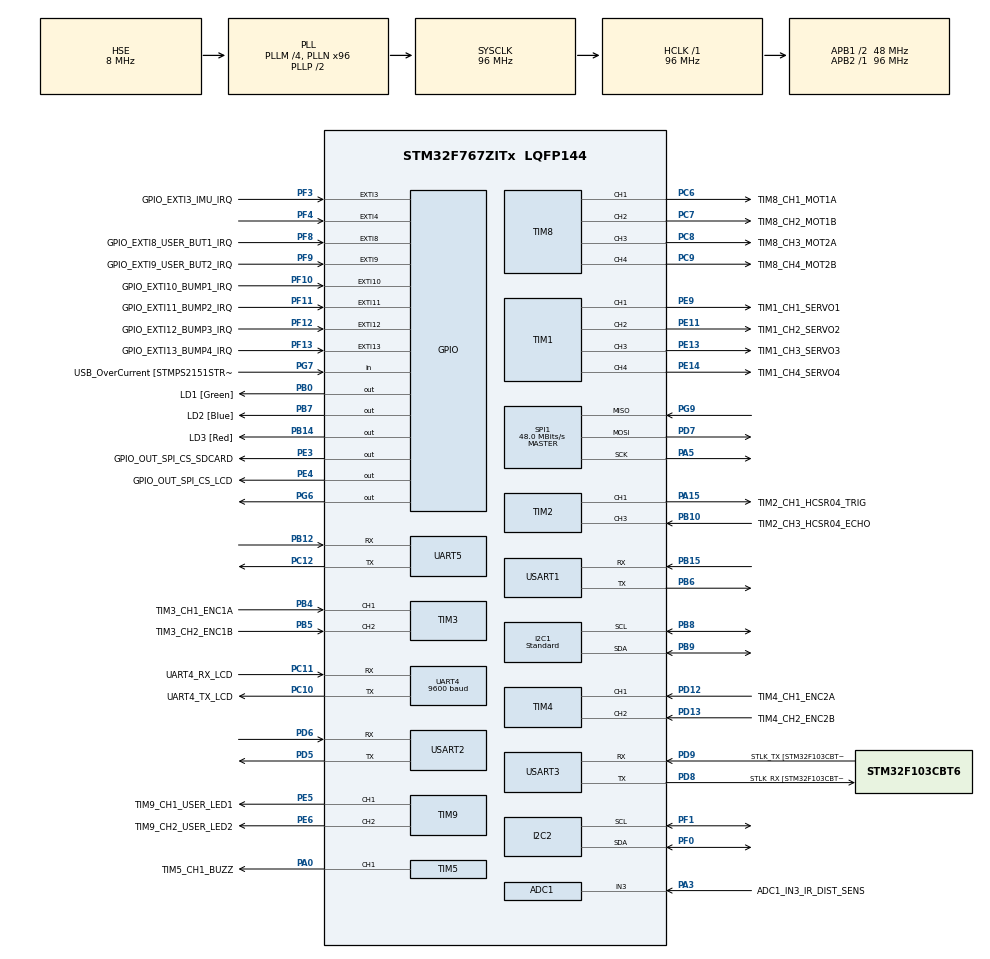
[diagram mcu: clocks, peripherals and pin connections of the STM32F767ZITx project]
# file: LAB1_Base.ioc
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ADC1.Channel-1\#ChannelRegularConversion=ADC_CHANNEL_3
ADC1.NbrOfConversionFlag=1
ADC1.Rank-1\#ChannelRegularConversion=1
ADC1.SamplingTime-1\#ChannelRegularConversion=ADC_SAMPLETIME_3CYCLES
ADC1.master=1
I2C1.I2C_Speed_Mode=I2C_Standard
I2C1.Timing=0x20303E5D
I2C2.Timing=0x20303E5D
Mcu.Family=STM32F7
Mcu.Name=STM32F767ZITx
Mcu.Package=LQFP144
Mcu.UserConstants=TIM8_PSC_VALUE,959;TIM8_ARR_VALUE,400;TIM1_PSC_VALUE,959;TIM1_ARR_VALUE,200
NVIC.PriorityGroup=NVIC_PRIORITYGROUP_4
PA0/WKUP.GPIO_Label=TIM5_CH1_BUZZ
PA0/WKUP.Signal=S_TIM5_CH1
PA1.GPIO_Label=RMII_REF_CLK [LAN8742A-CZ-TR_REFCLK0]
PA1.Signal=ETH_REF_CLK
PA10.GPIO_Label=USB_ID
PA10.Signal=USB_OTG_FS_ID
PA11.GPIO_Label=USB_DM
PA11.Signal=USB_OTG_FS_DM
PA12.GPIO_Label=USB_DP
PA12.Signal=USB_OTG_FS_DP
PA13.GPIO_Label=TMS
PA13.Mode=Serial_Wire
PA13.Signal=SYS_JTMS-SWDIO
PA14.GPIO_Label=TCK
PA14.Mode=Serial_Wire
PA14.Signal=SYS_JTCK-SWCLK
PA15.GPIO_Label=TIM2_CH1_HCSR04_TRIG
PA15.Signal=S_TIM2_CH1_ETR
PA2.GPIO_Label=RMII_MDIO [LAN8742A-CZ-TR_MDIO]
PA2.Signal=ETH_MDIO
PA3.GPIO_Label=ADC1_IN3_IR_DIST_SENS
PA3.Signal=ADCx_IN3
PA5.Mode=Full_Duplex_Master
PA5.Signal=SPI1_SCK
PA7.GPIO_Label=RMII_CRS_DV [LAN8742A-CZ-TR_CRS_DV]
PA7.Signal=ETH_CRS_DV
PA8.GPIO_Label=USB_SOF [TP1]
PA8.Signal=USB_OTG_FS_SOF
PA9.GPIO_Label=USB_VBUS
PA9.Signal=USB_OTG_FS_VBUS
PB0.GPIO_Label=LD1 [Green]
PB0.Signal=GPIO_Output
PB10.GPIO_Label=TIM2_CH3_HCSR04_ECHO
PB10.Signal=S_TIM2_CH3
PB12.Mode=Asynchronous
PB12.Signal=UART5_RX
PB13.GPIO_Label=RMII_TXD1 [LAN8742A-CZ-TR_TXD1]
PB13.Signal=ETH_TXD1
PB14.GPIO_Label=LD3 [Red]
PB14.Signal=GPIO_Output
PB15.Mode=Asynchronous
PB15.Signal=USART1_RX
PB3.GPIO_Label=SWO
PB3.Signal=SYS_JTDO-SWO
PB4.GPIO_Label=TIM3_CH1_ENC1A
PB4.Signal=S_TIM3_CH1
PB5.GPIO_Label=TIM3_CH2_ENC1B
PB5.Signal=S_TIM3_CH2
PB6.Mode=Asynchronous
PB6.Signal=USART1_TX
PB7.GPIO_Label=LD2 [Blue]
PB7.Signal=GPIO_Output
PB8.GPIO_Pu=GPIO_PULLUP
PB8.Mode=I2C
PB8.Signal=I2C1_SCL
PB9.GPIO_Pu=GPIO_PULLUP
PB9.Mode=I2C
PB9.Signal=I2C1_SDA
PC1.GPIO_Label=RMII_MDC [LAN8742A-CZ-TR_MDC]
PC1.Signal=ETH_MDC
PC10.GPIO_Label=UART4_TX_LCD
PC10.Mode=Asynchronous
PC10.Signal=UART4_TX
PC11.GPIO_Label=UART4_RX_LCD
PC11.Mode=Asynchronous
PC11.Signal=UART4_RX
PC12.Mode=Asynchronous
PC12.Signal=UART5_TX
PC14/OSC32_IN.Mode=LSE-External-Oscillator
PC14/OSC32_IN.Signal=RCC_OSC32_IN
PC15/OSC32_OUT.Mode=LSE-External-Oscillator
PC15/OSC32_OUT.Signal=RCC_OSC32_OUT
PC4.GPIO_Label=RMII_RXD0 [LAN8742A-CZ-TR_RXD0]
PC4.Signal=ETH_RXD0
PC5.GPIO_Label=RMII_RXD1 [LAN8742A-CZ-TR_RXD1]
PC5.Signal=ETH_RXD1
PC6.GPIO_Label=TIM8_CH1_MOT1A
PC6.Signal=S_TIM8_CH1
PC7.GPIO_Label=TIM8_CH2_MOT1B
PC7.Signal=S_TIM8_CH2
PC8.GPIO_Label=TIM8_CH3_MOT2A
PC8.Signal=S_TIM8_CH3
PC9.GPIO_Label=TIM8_CH4_MOT2B
PC9.Signal=S_TIM8_CH4
PD12.GPIO_Label=TIM4_CH1_ENC2A
PD12.Signal=S_TIM4_CH1
PD13.GPIO_Label=TIM4_CH2_ENC2B
PD13.Signal=S_TIM4_CH2
PD5.Mode=Asynchronous
PD5.Signal=USART2_TX
PD6.Mode=Asynchronous
PD6.Signal=USART2_RX
PD7.Mode=Full_Duplex_Master
PD7.Signal=SPI1_MOSI
PD8.GPIO_Label=STLK_RX [STM32F103CBT6_PA3]
PD8.Mode=Asynchronous
PD8.Signal=USART3_TX
PD9.GPIO_Label=STLK_TX [STM32F103CBT6_PA2]
PD9.Mode=Asynchronous
PD9.Signal=USART3_RX
PE11.GPIO_Label=TIM1_CH2_SERVO2
PE11.Signal=S_TIM1_CH2
PE13.GPIO_Label=TIM1_CH3_SERVO3
PE13.Signal=S_TIM1_CH3
PE14.GPIO_Label=TIM1_CH4_SERVO4
PE14.Signal=S_TIM1_CH4
PE3.GPIO_Label=GPIO_OUT_SPI_CS_SDCARD
PE3.Signal=GPIO_Output
PE4.GPIO_Label=GPIO_OUT_SPI_CS_LCD
PE4.Signal=GPIO_Output
PE5.GPIO_Label=TIM9_CH1_USER_LED1
PE5.Signal=S_TIM9_CH1
PE6.GPIO_Label=TIM9_CH2_USER_LED2
PE6.Signal=S_TIM9_CH2
PE9.GPIO_Label=TIM1_CH1_SERVO1
PE9.Signal=S_TIM1_CH1
PF0.GPIO_Pu=GPIO_PULLUP
PF0.Mode=I2C
PF0.Signal=I2C2_SDA
PF1.GPIO_Pu=GPIO_PULLUP
PF1.Mode=I2C
PF1.Signal=I2C2_SCL
PF10.GPIO_Label=GPIO_EXTI10_BUMP1_IRQ
PF10.Signal=GPXTI10
PF11.GPIO_Label=GPIO_EXTI11_BUMP2_IRQ
PF11.Signal=GPXTI11
PF12.GPIO_Label=GPIO_EXTI12_BUMP3_IRQ
PF12.Signal=GPXTI12
PF13.GPIO_Label=GPIO_EXTI13_BUMP4_IRQ
PF13.Signal=GPXTI13
PF3.GPIO_Label=GPIO_EXTI3_IMU_IRQ
PF3.Signal=GPXTI3
PF4.GPIO_ModeDefaultEXTI=GPIO_MODE_IT_FALLING
PF4.Signal=GPXTI4
PF8.GPIO_Label=GPIO_EXTI8_USER_BUT1_IRQ
PF8.Signal=GPXTI8
PF9.GPIO_Label=GPIO_EXTI9_USER_BUT2_IRQ
PF9.Signal=GPXTI9
PG11.GPIO_Label=RMII_TX_EN [LAN8742A-CZ-TR_TXEN]
PG11.Signal=ETH_TX_EN
PG13.GPIO_Label=RMII_TXD0 [LAN8742A-CZ-TR_TXD0]
PG13.Signal=ETH_TXD0
PG6.Signal=GPIO_Output
PG7.GPIO_Label=USB_OverCurrent [STMPS2151STR_FAULT]
PG7.Signal=GPIO_Input
PG9.Mode=Full_Duplex_Master
PG9.Signal=SPI1_MISO
PH0/OSC_IN.GPIO_Label=MCO [STM32F103CBT6_PA8]
PH0/OSC_IN.Mode=HSE-External-Clock-Source
PH0/OSC_IN.Signal=RCC_OSC_IN
PH1/OSC_OUT.Mode=HSE-External-Clock-Source
PH1/OSC_OUT.Signal=RCC_OSC_OUT
ProjectManager.HeapSize=0x200
ProjectManager.StackSize=0x400
ProjectManager.TargetToolchain=STM32CubeIDE
RCC.48MHZClocksFreq_Value=24000000
RCC.AHBFreq_Value=96000000
RCC.APB1CLKDivider=RCC_HCLK_DIV2
RCC.APB1Freq_Value=48000000
RCC.APB1TimFreq_Value=96000000
RCC.APB2Freq_Value=96000000
RCC.APB2TimFreq_Value=96000000
RCC.CortexFreq_Value=96000000
RCC.HCLKFreq_Value=96000000
RCC.HSE_VALUE=8000000
RCC.HSI_VALUE=16000000
RCC.PLLM=4
RCC.PLLMUL=RCC_PLL_MUL9
RCC.PLLN=96
RCC.PLLQ=4
RCC.PLLSourceVirtual=RCC_PLLSOURCE_HSE
RCC.PRESCALERUSB=RCC_USBCLKSOURCE_PLL_DIV1_5
RCC.SYSCLKFreq_VALUE=96000000
RCC.SYSCLKSource=RCC_SYSCLKSOURCE_PLLCLK
RCC.SYSCLKSourceVirtual=RCC_SYSCLKSOURCE_PLLCLK
RCC.USBFreq_Value=48000000
RCC.VCOOutputFreq_Value=192000000
SH.ADCx_IN3.0=ADC1_IN3,IN3
SH.S_TIM1_CH1.0=TIM1_CH1,PWM Generation1 CH1
SH.S_TIM1_CH2.0=TIM1_CH2,PWM Generation2 CH2
SH.S_TIM1_CH3.0=TIM1_CH3,PWM Generation3 CH3
SH.S_TIM1_CH4.0=TIM1_CH4,PWM Generation4 CH4
SH.S_TIM2_CH1_ETR.0=TIM2_CH1,PWM Generation1 CH1
SH.S_TIM2_CH3.0=TIM2_CH3,Input_Capture3_from_TI3
SH.S_TIM3_CH1.0=TIM3_CH1,Encoder_Interface
SH.S_TIM3_CH2.0=TIM3_CH2,Encoder_Interface
SH.S_TIM4_CH1.0=TIM4_CH1,Encoder_Interface
SH.S_TIM4_CH2.0=TIM4_CH2,Encoder_Interface
SH.S_TIM5_CH1.0=TIM5_CH1,PWM Generation1 CH1
SH.S_TIM8_CH1.0=TIM8_CH1,PWM Generation1 CH1
SH.S_TIM8_CH2.0=TIM8_CH2,PWM Generation2 CH2
SH.S_TIM8_CH3.0=TIM8_CH3,PWM Generation3 CH3
SH.S_TIM8_CH4.0=TIM8_CH4,PWM Generation4 CH4
SH.S_TIM9_CH1.0=TIM9_CH1,PWM Generation1 CH1
SH.S_TIM9_CH2.0=TIM9_CH2,PWM Generation2 CH2
SPI1.CalculateBaudRate=48.0 MBits/s
SPI1.Direction=SPI_DIRECTION_2LINES
SPI1.Mode=SPI_MODE_MASTER
SPI1.VirtualType=VM_MASTER
TIM1.Channel-PWM\ Generation1\ CH1=TIM_CHANNEL_1
TIM1.Channel-PWM\ Generation2\ CH2=TIM_CHANNEL_2
TIM1.Channel-PWM\ Generation3\ CH3=TIM_CHANNEL_3
TIM1.Channel-PWM\ Generation4\ CH4=TIM_CHANNEL_4
TIM1.Period=TIM1_ARR_VALUE
TIM1.Prescaler=TIM1_PSC_VALUE
TIM2.Channel-Input_Capture3_from_TI3=TIM_CHANNEL_3
TIM2.Channel-PWM\ Generation1\ CH1=TIM_CHANNEL_1
TIM5.Channel-PWM\ Generation1\ CH1=TIM_CHANNEL_1
TIM8.Channel-PWM\ Generation1\ CH1=TIM_CHANNEL_1
TIM8.Channel-PWM\ Generation2\ CH2=TIM_CHANNEL_2
TIM8.Channel-PWM\ Generation3\ CH3=TIM_CHANNEL_3
TIM8.Channel-PWM\ Generation4\ CH4=TIM_CHANNEL_4
TIM8.Period=TIM8_ARR_VALUE
TIM8.Prescaler=TIM8_PSC_VALUE
TIM9.Channel-PWM\ Generation1\ CH1=TIM_CHANNEL_1
TIM9.Channel-PWM\ Generation2\ CH2=TIM_CHANNEL_2
UART4.BaudRate=9600
USART1.VirtualMode-Asynchronous=VM_ASYNC
USART2.VirtualMode-Asynchronous=VM_ASYNC
USART3.VirtualMode-Asynchronous=VM_ASYNC
VP_TIM1_VS_ClockSourceINT.Mode=Internal
VP_TIM2_VS_ClockSourceINT.Mode=Internal
VP_TIM5_VS_ClockSourceINT.Mode=Internal
VP_TIM8_VS_ClockSourceINT.Mode=Internal
board=NUCLEO-F767ZI

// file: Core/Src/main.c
/* USER CODE BEGIN Header */
/**
 ******************************************************************************
 * @file           : main.c
 * @brief          : Main program body
 ******************************************************************************
 * @attention
 *
 * <h2><center>&copy; Copyright (c) 2021 STMicroelectronics.
 * All rights reserved.</center></h2>
 *
 * This software component is licensed by ST under BSD 3-Clause license,
 * the "License"; You may not use this file except in compliance with the
 * License. You may obtain a copy of the License at:
 *                        opensource.org/licenses/BSD-3-Clause
 *
 ******************************************************************************
 */
/* USER CODE END Header */
#include "main.h"

/* USER CODE BEGIN Includes */
#include <stdio.h>
#include <string.h>
#include "SX1509_Registers.h"
/* USER CODE END Includes */

/* USER CODE BEGIN PD */
#define HAL_TIMEOUT 100

#define I2C_TIMEOUT 200

#define SX1509_I2C_ADDR1 0x3E //	SX1509 Proxy Sensors I2C address
#define SX1509_I2C_ADDR2 0x3F //	SX1509 Keypad I2C address
/* USER CODE END PD */

ADC_HandleTypeDef hadc1;

I2C_HandleTypeDef hi2c1;
I2C_HandleTypeDef hi2c2;

SPI_HandleTypeDef hspi1;

TIM_HandleTypeDef htim1;
TIM_HandleTypeDef htim2;
TIM_HandleTypeDef htim3;
TIM_HandleTypeDef htim4;
TIM_HandleTypeDef htim5;
TIM_HandleTypeDef htim8;
TIM_HandleTypeDef htim9;

UART_HandleTypeDef huart4;
UART_HandleTypeDef huart5;
UART_HandleTypeDef huart1;
UART_HandleTypeDef huart2;
UART_HandleTypeDef huart3;

/* USER CODE BEGIN PV */
const char keypadLayout[4][4] = {
    {'*', '0', '#', 'D'},
    {'7', '8', '9', 'C'},
    {'4', '5', '6', 'B'},
    {'1', '2', '3', 'A'}};
/* USER CODE END PV */

void SystemClock_Config(void);
static void MX_GPIO_Init(void);
static void MX_USART3_UART_Init(void);
static void MX_ADC1_Init(void);
static void MX_I2C1_Init(void);
static void MX_I2C2_Init(void);
static void MX_SPI1_Init(void);
static void MX_TIM1_Init(void);
static void MX_TIM2_Init(void);
static void MX_TIM3_Init(void);
static void MX_TIM4_Init(void);
static void MX_TIM5_Init(void);
static void MX_TIM8_Init(void);
static void MX_UART4_Init(void);
static void MX_UART5_Init(void);
static void MX_USART1_UART_Init(void);
static void MX_USART2_UART_Init(void);
static void MX_TIM9_Init(void);

/* USER CODE BEGIN 0 */
int _write(int file, char *ptr, int len)
{
	int DataIdx;
	for (DataIdx = 0; DataIdx < len; DataIdx++)
	{
		ITM_SendChar(*ptr++);
	}
	return len;
}

int findPressedBit(uint8_t reg) {
    for (int i = 0; i < 8; i++) {
        if (!(reg & (1 << i))) { // bitmask i-th bit is one; bitwise AND to see the value
            return i + 1; // stops as soon as a 0 is found
        }
    }
    return -1; // No key pressed
}

void HAL_GPIO_EXTI_Callback(uint16_t GPIO_Pin)
{
    printf("Interrupt on pin (%d).\n", GPIO_Pin);

    uint8_t keypad_data[2];
    HAL_StatusTypeDef status;

    status =  HAL_I2C_Mem_Read(
      		   &hi2c1, // I2C handle structure
               SX1509_I2C_ADDR2 << 1, // I2C address of keypad
      	       REG_KEY_DATA_1, // register for column
			   1, // Memory address size
			   &keypad_data[0], // where save the data
      		   1, // number of byte read
      		   I2C_TIMEOUT); // timeout
    if (status != HAL_OK)
        printf("I2C communication error (%X).\n", status);

    status =  HAL_I2C_Mem_Read(
    		    &hi2c1,
				SX1509_I2C_ADDR2 << 1,
				REG_KEY_DATA_2, // row
				1,
				&keypad_data[1],
				1,
				I2C_TIMEOUT);
     if (status != HAL_OK)
        printf("I2C communication error (%X).\n", status);

     int col = findPressedBit(keypad_data[0]);
     int row = findPressedBit(keypad_data[1]);
     if (row == -1 || col == -1){
    	 printf("No key pressed");
     }
     printf("Keypad button: (%c).\n",keypadLayout[col][row]);

}

/* USER CODE END 0 */

int main(void)
{

  /* USER CODE BEGIN 1 */
  uint8_t data;
  HAL_StatusTypeDef status;
  /* USER CODE END 1 */

  /* MCU Configuration--------------------------------------------------------*/

  /* Reset of all peripherals, Initializes the Flash interface and the Systick. */
  HAL_Init();

  /* Configure the system clock */
  SystemClock_Config();

  /* Initialize all configured peripherals */
  MX_GPIO_Init();
  MX_USART3_UART_Init();
  MX_ADC1_Init();
  MX_I2C1_Init();
  MX_I2C2_Init();
  MX_SPI1_Init();
  MX_TIM1_Init();
  MX_TIM2_Init();
  MX_TIM3_Init();
  MX_TIM4_Init();
  MX_TIM5_Init();
  MX_TIM8_Init();
  MX_UART4_Init();
  MX_UART5_Init();
  MX_USART1_UART_Init();
  MX_USART2_UART_Init();
  MX_TIM9_Init();
  /* USER CODE BEGIN 2 */

  /* Disable LCD SPI SS */
  HAL_GPIO_WritePin(GPIO_OUT_SPI_CS_LCD_GPIO_Port, GPIO_OUT_SPI_CS_LCD_Pin, GPIO_PIN_SET);

  /* Disable EXTI4_IRQ during SX1509 initialization */
  HAL_NVIC_DisableIRQ(EXTI4_IRQn);

  ITM_SendChar('h');

  /* Software reset */
  data = 0x12;
  status = HAL_I2C_Mem_Write(&hi2c1, SX1509_I2C_ADDR2 << 1, REG_RESET, 1, &data, 1, I2C_TIMEOUT);
  if (status != HAL_OK)
    printf("I2C communication error (%X).\n", status);

  data = 0x34;
  status = HAL_I2C_Mem_Write(&hi2c1, SX1509_I2C_ADDR2 << 1, REG_RESET, 1, &data, 1, I2C_TIMEOUT);
  if (status != HAL_OK)
    printf("I2C communication error (%X).\n", status);

  HAL_Delay(100);

  /* Set KeyPad scanning engine */

  /* Set RegClock to 0x40 (enable internal oscillator; 2MHz freq) */
  data = 0x40;
  status = HAL_I2C_Mem_Write(&hi2c1, SX1509_I2C_ADDR2 << 1, REG_CLOCK, 1, &data, 1, I2C_TIMEOUT);
  if (status != HAL_OK)
    printf("I2C communication error (%X).\n", status);

  /* Set Bank A RegDir to 0xF0 (IO[0:3] as out) */
  data = 0xF0;
  status = HAL_I2C_Mem_Write(&hi2c1, SX1509_I2C_ADDR2 << 1, REG_DIR_A, 1, &data, 1, I2C_TIMEOUT);
  if (status != HAL_OK)
    printf("I2C communication error (%X).\n", status);

  /* Set Bank B RegDir to 0x0F (IO[8:11] as in) */
  data = 0x0F;
  status = HAL_I2C_Mem_Write(&hi2c1, SX1509_I2C_ADDR2 << 1, REG_DIR_B, 1, &data, 1, I2C_TIMEOUT);
  if (status != HAL_OK)
    printf("I2C communication error (%X).\n", status);

  /* Set Bank A RegOpenDrain to 0x0F (IO[0:3] as open-drain outputs) */
  data = 0x0F;
  status = HAL_I2C_Mem_Write(&hi2c1, SX1509_I2C_ADDR2 << 1, REG_OPEN_DRAIN_A, 1, &data, 1, I2C_TIMEOUT);
  if (status != HAL_OK)
    printf("I2C communication error (%X).\n", status);

  /* Set Bank B RegPullup to 0x0F (pull-ups enabled on inputs IO[8:11]) */
  data = 0x0F;
  status = HAL_I2C_Mem_Write(&hi2c1, SX1509_I2C_ADDR2 << 1, REG_PULL_UP_B, 1, &data, 1, I2C_TIMEOUT);
  if (status != HAL_OK)
    printf("I2C communication error (%X).\n", status);

  /* Set Bank B RegDebounceEnable to 0x0F (enable debouncing on IO[8:11]) */
  data = 0x0F;
  status = HAL_I2C_Mem_Write(&hi2c1, SX1509_I2C_ADDR2 << 1, REG_DEBOUNCE_ENABLE_B, 1, &data, 1, I2C_TIMEOUT);
  if (status != HAL_OK)
    printf("I2C communication error (%X).\n", status);

  /* Set RegDebounceConfig to 0x05 (16ms debounce time) */
  data = 0x05;
  status = HAL_I2C_Mem_Write(&hi2c1, SX1509_I2C_ADDR2 << 1, REG_DEBOUNCE_CONFIG, 1, &data, 1, I2C_TIMEOUT);
  if (status != HAL_OK)
    printf("I2C communication error (%X).\n", status);

  /* Set RegKeyConfig1 to 0x7D (8s auto-sleep; 32ms scan time per row) */
  data = 0x7D;
  status = HAL_I2C_Mem_Write(&hi2c1, SX1509_I2C_ADDR2 << 1, REG_KEY_CONFIG_1, 1, &data, 1, I2C_TIMEOUT);
  if (status != HAL_OK)
    printf("I2C communication error (%X).\n", status);

  /* Set RegKeyConfig2 to 0x1B (4 rows; 4 columns) */
  data = 0x1B;
  status = HAL_I2C_Mem_Write(&hi2c1, SX1509_I2C_ADDR2 << 1, REG_KEY_CONFIG_2, 1, &data, 1, I2C_TIMEOUT);
  if (status != HAL_OK)
    printf("I2C communication error (%X).\n", status);

  /* Enable EXTI4_IRQ after SX1509 initialization */
  HAL_Delay(100);
  HAL_NVIC_EnableIRQ(EXTI4_IRQn);

  /* Disable EXTI2_IRQ during SX1509 initialization */
  HAL_NVIC_DisableIRQ(EXTI2_IRQn);

  /* Software reset */
  data = 0x12;
  status = HAL_I2C_Mem_Write(&hi2c1, SX1509_I2C_ADDR1 << 1, REG_RESET, 1, &data, 1, I2C_TIMEOUT);
  if (status != HAL_OK)
    printf("I2C communication error (%X).\n", status);

  data = 0x34;
  status = HAL_I2C_Mem_Write(&hi2c1, SX1509_I2C_ADDR1 << 1, REG_RESET, 1, &data, 1, I2C_TIMEOUT);
  if (status != HAL_OK)
    printf("I2C communication error (%X).\n", status);

  HAL_Delay(100);

  /* Set RegDirA to 0xFF (all IO of Bank A configured as inputs) */
  data = 0xFF; // 0 = out; 1 = in
  status = HAL_I2C_Mem_Write(&hi2c1, SX1509_I2C_ADDR1 << 1, REG_DIR_A, 1, &data, 1, I2C_TIMEOUT);
  if (status != HAL_OK)
    printf("I2C communication error (%X).\n", status);

  /* Set RegDirB to 0xFF (all IO of Bank B configured as inputs) */
  data = 0xFF; // 0 = out; 1 = in
  status = HAL_I2C_Mem_Write(&hi2c1, SX1509_I2C_ADDR1 << 1, REG_DIR_B, 1, &data, 1, I2C_TIMEOUT);
  if (status != HAL_OK)
    printf("I2C communication error (%X).\n", status);

  /* Set RegInterruptMaskA to 0x00 (all IO of Bank A will trigger an interrupt) */
  data = 0x00;
  status = HAL_I2C_Mem_Write(&hi2c1, SX1509_I2C_ADDR1 << 1, REG_INTERRUPT_MASK_A, 1, &data, 1, I2C_TIMEOUT);
  if (status != HAL_OK)
    printf("I2C communication error (%X).\n", status);

  /* Set RegSenseHighA to 0xAA (IO[7:4] of Bank A will trigger an interrupt on falling edge) */
  data = 0xAA;
  status = HAL_I2C_Mem_Write(&hi2c1, SX1509_I2C_ADDR1 << 1, REG_SENSE_HIGH_A, 1, &data, 1, I2C_TIMEOUT);
  if (status != HAL_OK)
    printf("I2C communication error (%X).\n", status);

  /* Set RegSenseLowA to 0xAA (IO[3:0] of Bank A will trigger an interrupt on falling edge) */
  data = 0xAA;
  status = HAL_I2C_Mem_Write(&hi2c1, SX1509_I2C_ADDR1 << 1, REG_SENSE_LOW_A, 1, &data, 1, I2C_TIMEOUT);
  if (status != HAL_OK)
    printf("I2C communication error (%X).\n", status);

  /* Enable EXTI2_IRQ after SX1509 initialization */
  HAL_Delay(100);
  HAL_NVIC_EnableIRQ(EXTI2_IRQn);

  printf("Ready\n");

  /* USER CODE END 2 */

  /* Infinite loop */
  while (1)
  {

    /* USER CODE BEGIN 3 */
	  uint8_t sensor_data = 0;
	  status =  HAL_I2C_Mem_Read(
	      		    &hi2c1,
	  				SX1509_I2C_ADDR1 << 1,
	  				REG_DATA_B,
	  				1,
	  				&sensor_data,
	  				1,
	  				I2C_TIMEOUT);
	  if (status != HAL_OK)
	      printf("I2C communication error (%X).\n", status);
	  printf("Line Sensor Data: 0x%02X\n", sensor_data);
	  HAL_Delay(100);

  }
  /* USER CODE END 3 */
}

void SystemClock_Config(void)
{
  RCC_OscInitTypeDef RCC_OscInitStruct = {0};
  RCC_ClkInitTypeDef RCC_ClkInitStruct = {0};

  /** Configure LSE Drive Capability
  */
  HAL_PWR_EnableBkUpAccess();

  /** Configure the main internal regulator output voltage
  */
  __HAL_RCC_PWR_CLK_ENABLE();
  __HAL_PWR_VOLTAGESCALING_CONFIG(PWR_REGULATOR_VOLTAGE_SCALE3);

  /** Initializes the RCC Oscillators according to the specified parameters
  * in the RCC_OscInitTypeDef structure.
  */
  RCC_OscInitStruct.OscillatorType = RCC_OSCILLATORTYPE_HSE;
  RCC_OscInitStruct.HSEState = RCC_HSE_BYPASS;
  RCC_OscInitStruct.PLL.PLLState = RCC_PLL_ON;
  RCC_OscInitStruct.PLL.PLLSource = RCC_PLLSOURCE_HSE;
  RCC_OscInitStruct.PLL.PLLM = 4;
  RCC_OscInitStruct.PLL.PLLN = 96;
  RCC_OscInitStruct.PLL.PLLP = RCC_PLLP_DIV2;
  RCC_OscInitStruct.PLL.PLLQ = 4;
  RCC_OscInitStruct.PLL.PLLR = 2;
  if (HAL_RCC_OscConfig(&RCC_OscInitStruct) != HAL_OK)
  {
    Error_Handler();
  }

  /** Activate the Over-Drive mode
  */
  if (HAL_PWREx_EnableOverDrive() != HAL_OK)
  {
    Error_Handler();
  }

  /** Initializes the CPU, AHB and APB buses clocks
  */
  RCC_ClkInitStruct.ClockType = RCC_CLOCKTYPE_HCLK|RCC_CLOCKTYPE_SYSCLK
                              |RCC_CLOCKTYPE_PCLK1|RCC_CLOCKTYPE_PCLK2;
  RCC_ClkInitStruct.SYSCLKSource = RCC_SYSCLKSOURCE_PLLCLK;
  RCC_ClkInitStruct.AHBCLKDivider = RCC_SYSCLK_DIV1;
  RCC_ClkInitStruct.APB1CLKDivider = RCC_HCLK_DIV2;
  RCC_ClkInitStruct.APB2CLKDivider = RCC_HCLK_DIV1;

  if (HAL_RCC_ClockConfig(&RCC_ClkInitStruct, FLASH_LATENCY_3) != HAL_OK)
  {
    Error_Handler();
  }
}

static void MX_ADC1_Init(void)
{

  ADC_ChannelConfTypeDef sConfig = {0};

  /** Configure the global features of the ADC (Clock, Resolution, Data Alignment and number of conversion)
  */
  hadc1.Instance = ADC1;
  hadc1.Init.ClockPrescaler = ADC_CLOCK_SYNC_PCLK_DIV4;
  hadc1.Init.Resolution = ADC_RESOLUTION_12B;
  hadc1.Init.ScanConvMode = ADC_SCAN_DISABLE;
  hadc1.Init.ContinuousConvMode = DISABLE;
  hadc1.Init.DiscontinuousConvMode = DISABLE;
  hadc1.Init.ExternalTrigConvEdge = ADC_EXTERNALTRIGCONVEDGE_NONE;
  hadc1.Init.ExternalTrigConv = ADC_SOFTWARE_START;
  hadc1.Init.DataAlign = ADC_DATAALIGN_RIGHT;
  hadc1.Init.NbrOfConversion = 1;
  hadc1.Init.DMAContinuousRequests = DISABLE;
  hadc1.Init.EOCSelection = ADC_EOC_SINGLE_CONV;
  if (HAL_ADC_Init(&hadc1) != HAL_OK)
  {
    Error_Handler();
  }

  /** Configure for the selected ADC regular channel its corresponding rank in the sequencer and its sample time.
  */
  sConfig.Channel = ADC_CHANNEL_3;
  sConfig.Rank = ADC_REGULAR_RANK_1;
  sConfig.SamplingTime = ADC_SAMPLETIME_3CYCLES;
  if (HAL_ADC_ConfigChannel(&hadc1, &sConfig) != HAL_OK)
  {
    Error_Handler();
  }

}

static void MX_I2C1_Init(void)
{

  hi2c1.Instance = I2C1;
  hi2c1.Init.Timing = 0x20303E5D;
  hi2c1.Init.OwnAddress1 = 0;
  hi2c1.Init.AddressingMode = I2C_ADDRESSINGMODE_7BIT;
  hi2c1.Init.DualAddressMode = I2C_DUALADDRESS_DISABLE;
  hi2c1.Init.OwnAddress2 = 0;
  hi2c1.Init.OwnAddress2Masks = I2C_OA2_NOMASK;
  hi2c1.Init.GeneralCallMode = I2C_GENERALCALL_DISABLE;
  hi2c1.Init.NoStretchMode = I2C_NOSTRETCH_DISABLE;
  if (HAL_I2C_Init(&hi2c1) != HAL_OK)
  {
    Error_Handler();
  }

  /** Configure Analogue filter
  */
  if (HAL_I2CEx_ConfigAnalogFilter(&hi2c1, I2C_ANALOGFILTER_ENABLE) != HAL_OK)
  {
    Error_Handler();
  }

  /** Configure Digital filter
  */
  if (HAL_I2CEx_ConfigDigitalFilter(&hi2c1, 0) != HAL_OK)
  {
    Error_Handler();
  }

}

static void MX_I2C2_Init(void)
{

  hi2c2.Instance = I2C2;
  hi2c2.Init.Timing = 0x20303E5D;
  hi2c2.Init.OwnAddress1 = 0;
  hi2c2.Init.AddressingMode = I2C_ADDRESSINGMODE_7BIT;
  hi2c2.Init.DualAddressMode = I2C_DUALADDRESS_DISABLE;
  hi2c2.Init.OwnAddress2 = 0;
  hi2c2.Init.OwnAddress2Masks = I2C_OA2_NOMASK;
  hi2c2.Init.GeneralCallMode = I2C_GENERALCALL_DISABLE;
  hi2c2.Init.NoStretchMode = I2C_NOSTRETCH_DISABLE;
  if (HAL_I2C_Init(&hi2c2) != HAL_OK)
  {
    Error_Handler();
  }

  /** Configure Analogue filter
  */
  if (HAL_I2CEx_ConfigAnalogFilter(&hi2c2, I2C_ANALOGFILTER_ENABLE) != HAL_OK)
  {
    Error_Handler();
  }

  /** Configure Digital filter
  */
  if (HAL_I2CEx_ConfigDigitalFilter(&hi2c2, 0) != HAL_OK)
  {
    Error_Handler();
  }

}

static void MX_SPI1_Init(void)
{

  /* SPI1 parameter configuration*/
  hspi1.Instance = SPI1;
  hspi1.Init.Mode = SPI_MODE_MASTER;
  hspi1.Init.Direction = SPI_DIRECTION_2LINES;
  hspi1.Init.DataSize = SPI_DATASIZE_4BIT;
  hspi1.Init.CLKPolarity = SPI_POLARITY_LOW;
  hspi1.Init.CLKPhase = SPI_PHASE_1EDGE;
  hspi1.Init.NSS = SPI_NSS_SOFT;
  hspi1.Init.BaudRatePrescaler = SPI_BAUDRATEPRESCALER_2;
  hspi1.Init.FirstBit = SPI_FIRSTBIT_MSB;
  hspi1.Init.TIMode = SPI_TIMODE_DISABLE;
  hspi1.Init.CRCCalculation = SPI_CRCCALCULATION_DISABLE;
  hspi1.Init.CRCPolynomial = 7;
  hspi1.Init.CRCLength = SPI_CRC_LENGTH_DATASIZE;
  hspi1.Init.NSSPMode = SPI_NSS_PULSE_ENABLE;
  if (HAL_SPI_Init(&hspi1) != HAL_OK)
  {
    Error_Handler();
  }

}

static void MX_TIM1_Init(void)
{

  TIM_ClockConfigTypeDef sClockSourceConfig = {0};
  TIM_MasterConfigTypeDef sMasterConfig = {0};
  TIM_OC_InitTypeDef sConfigOC = {0};
  TIM_BreakDeadTimeConfigTypeDef sBreakDeadTimeConfig = {0};

  htim1.Instance = TIM1;
  htim1.Init.Prescaler = TIM1_PSC_VALUE;
  htim1.Init.CounterMode = TIM_COUNTERMODE_UP;
  htim1.Init.Period = TIM1_ARR_VALUE;
  htim1.Init.ClockDivision = TIM_CLOCKDIVISION_DIV1;
  htim1.Init.RepetitionCounter = 0;
  htim1.Init.AutoReloadPreload = TIM_AUTORELOAD_PRELOAD_DISABLE;
  if (HAL_TIM_Base_Init(&htim1) != HAL_OK)
  {
    Error_Handler();
  }
  sClockSourceConfig.ClockSource = TIM_CLOCKSOURCE_INTERNAL;
  if (HAL_TIM_ConfigClockSource(&htim1, &sClockSourceConfig) != HAL_OK)
  {
    Error_Handler();
  }
  if (HAL_TIM_PWM_Init(&htim1) != HAL_OK)
  {
    Error_Handler();
  }
  sMasterConfig.MasterOutputTrigger = TIM_TRGO_RESET;
  sMasterConfig.MasterOutputTrigger2 = TIM_TRGO2_RESET;
  sMasterConfig.MasterSlaveMode = TIM_MASTERSLAVEMODE_DISABLE;
  if (HAL_TIMEx_MasterConfigSynchronization(&htim1, &sMasterConfig) != HAL_OK)
  {
    Error_Handler();
  }
  sConfigOC.OCMode = TIM_OCMODE_PWM1;
  sConfigOC.Pulse = 0;
  sConfigOC.OCPolarity = TIM_OCPOLARITY_HIGH;
  sConfigOC.OCNPolarity = TIM_OCNPOLARITY_HIGH;
  sConfigOC.OCFastMode = TIM_OCFAST_DISABLE;
  sConfigOC.OCIdleState = TIM_OCIDLESTATE_RESET;
  sConfigOC.OCNIdleState = TIM_OCNIDLESTATE_RESET;
  if (HAL_TIM_PWM_ConfigChannel(&htim1, &sConfigOC, TIM_CHANNEL_1) != HAL_OK)
  {
    Error_Handler();
  }
  if (HAL_TIM_PWM_ConfigChannel(&htim1, &sConfigOC, TIM_CHANNEL_2) != HAL_OK)
  {
    Error_Handler();
  }
  if (HAL_TIM_PWM_ConfigChannel(&htim1, &sConfigOC, TIM_CHANNEL_3) != HAL_OK)
  {
    Error_Handler();
  }
  if (HAL_TIM_PWM_ConfigChannel(&htim1, &sConfigOC, TIM_CHANNEL_4) != HAL_OK)
  {
    Error_Handler();
  }
  sBreakDeadTimeConfig.OffStateRunMode = TIM_OSSR_DISABLE;
  sBreakDeadTimeConfig.OffStateIDLEMode = TIM_OSSI_DISABLE;
  sBreakDeadTimeConfig.LockLevel = TIM_LOCKLEVEL_OFF;
  sBreakDeadTimeConfig.DeadTime = 0;
  sBreakDeadTimeConfig.BreakState = TIM_BREAK_DISABLE;
  sBreakDeadTimeConfig.BreakPolarity = TIM_BREAKPOLARITY_HIGH;
  sBreakDeadTimeConfig.BreakFilter = 0;
  sBreakDeadTimeConfig.Break2State = TIM_BREAK2_DISABLE;
  sBreakDeadTimeConfig.Break2Polarity = TIM_BREAK2POLARITY_HIGH;
  sBreakDeadTimeConfig.Break2Filter = 0;
  sBreakDeadTimeConfig.AutomaticOutput = TIM_AUTOMATICOUTPUT_DISABLE;
  if (HAL_TIMEx_ConfigBreakDeadTime(&htim1, &sBreakDeadTimeConfig) != HAL_OK)
  {
    Error_Handler();
  }
  HAL_TIM_MspPostInit(&htim1);

}

static void MX_TIM2_Init(void)
{

  TIM_ClockConfigTypeDef sClockSourceConfig = {0};
  TIM_MasterConfigTypeDef sMasterConfig = {0};
  TIM_OC_InitTypeDef sConfigOC = {0};
  TIM_IC_InitTypeDef sConfigIC = {0};

  htim2.Instance = TIM2;
  htim2.Init.Prescaler = 0;
  htim2.Init.CounterMode = TIM_COUNTERMODE_UP;
  htim2.Init.Period = 4294967295;
  htim2.Init.ClockDivision = TIM_CLOCKDIVISION_DIV1;
  htim2.Init.AutoReloadPreload = TIM_AUTORELOAD_PRELOAD_DISABLE;
  if (HAL_TIM_Base_Init(&htim2) != HAL_OK)
  {
    Error_Handler();
  }
  sClockSourceConfig.ClockSource = TIM_CLOCKSOURCE_INTERNAL;
  if (HAL_TIM_ConfigClockSource(&htim2, &sClockSourceConfig) != HAL_OK)
  {
    Error_Handler();
  }
  if (HAL_TIM_PWM_Init(&htim2) != HAL_OK)
  {
    Error_Handler();
  }
  if (HAL_TIM_IC_Init(&htim2) != HAL_OK)
  {
    Error_Handler();
  }
  sMasterConfig.MasterOutputTrigger = TIM_TRGO_RESET;
  sMasterConfig.MasterSlaveMode = TIM_MASTERSLAVEMODE_DISABLE;
  if (HAL_TIMEx_MasterConfigSynchronization(&htim2, &sMasterConfig) != HAL_OK)
  {
    Error_Handler();
  }
  sConfigOC.OCMode = TIM_OCMODE_PWM1;
  sConfigOC.Pulse = 0;
  sConfigOC.OCPolarity = TIM_OCPOLARITY_HIGH;
  sConfigOC.OCFastMode = TIM_OCFAST_DISABLE;
  if (HAL_TIM_PWM_ConfigChannel(&htim2, &sConfigOC, TIM_CHANNEL_1) != HAL_OK)
  {
    Error_Handler();
  }
  sConfigIC.ICPolarity = TIM_INPUTCHANNELPOLARITY_RISING;
  sConfigIC.ICSelection = TIM_ICSELECTION_DIRECTTI;
  sConfigIC.ICPrescaler = TIM_ICPSC_DIV1;
  sConfigIC.ICFilter = 0;
  if (HAL_TIM_IC_ConfigChannel(&htim2, &sConfigIC, TIM_CHANNEL_3) != HAL_OK)
  {
    Error_Handler();
  }
  HAL_TIM_MspPostInit(&htim2);

}

static void MX_TIM3_Init(void)
{

  TIM_Encoder_InitTypeDef sConfig = {0};
  TIM_MasterConfigTypeDef sMasterConfig = {0};

  htim3.Instance = TIM3;
  htim3.Init.Prescaler = 0;
  htim3.Init.CounterMode = TIM_COUNTERMODE_UP;
  htim3.Init.Period = 65535;
  htim3.Init.ClockDivision = TIM_CLOCKDIVISION_DIV1;
  htim3.Init.AutoReloadPreload = TIM_AUTORELOAD_PRELOAD_DISABLE;
  sConfig.EncoderMode = TIM_ENCODERMODE_TI1;
  sConfig.IC1Polarity = TIM_ICPOLARITY_RISING;
  sConfig.IC1Selection = TIM_ICSELECTION_DIRECTTI;
  sConfig.IC1Prescaler = TIM_ICPSC_DIV1;
  sConfig.IC1Filter = 0;
  sConfig.IC2Polarity = TIM_ICPOLARITY_RISING;
  sConfig.IC2Selection = TIM_ICSELECTION_DIRECTTI;
  sConfig.IC2Prescaler = TIM_ICPSC_DIV1;
  sConfig.IC2Filter = 0;
  if (HAL_TIM_Encoder_Init(&htim3, &sConfig) != HAL_OK)
  {
    Error_Handler();
  }
  sMasterConfig.MasterOutputTrigger = TIM_TRGO_RESET;
  sMasterConfig.MasterSlaveMode = TIM_MASTERSLAVEMODE_DISABLE;
  if (HAL_TIMEx_MasterConfigSynchronization(&htim3, &sMasterConfig) != HAL_OK)
  {
    Error_Handler();
  }

}

static void MX_TIM4_Init(void)
{

  TIM_Encoder_InitTypeDef sConfig = {0};
  TIM_MasterConfigTypeDef sMasterConfig = {0};

  htim4.Instance = TIM4;
  htim4.Init.Prescaler = 0;
  htim4.Init.CounterMode = TIM_COUNTERMODE_UP;
  htim4.Init.Period = 65535;
  htim4.Init.ClockDivision = TIM_CLOCKDIVISION_DIV1;
  htim4.Init.AutoReloadPreload = TIM_AUTORELOAD_PRELOAD_DISABLE;
  sConfig.EncoderMode = TIM_ENCODERMODE_TI1;
  sConfig.IC1Polarity = TIM_ICPOLARITY_RISING;
  sConfig.IC1Selection = TIM_ICSELECTION_DIRECTTI;
  sConfig.IC1Prescaler = TIM_ICPSC_DIV1;
  sConfig.IC1Filter = 0;
  sConfig.IC2Polarity = TIM_ICPOLARITY_RISING;
  sConfig.IC2Selection = TIM_ICSELECTION_DIRECTTI;
  sConfig.IC2Prescaler = TIM_ICPSC_DIV1;
  sConfig.IC2Filter = 0;
  if (HAL_TIM_Encoder_Init(&htim4, &sConfig) != HAL_OK)
  {
    Error_Handler();
  }
  sMasterConfig.MasterOutputTrigger = TIM_TRGO_RESET;
  sMasterConfig.MasterSlaveMode = TIM_MASTERSLAVEMODE_DISABLE;
  if (HAL_TIMEx_MasterConfigSynchronization(&htim4, &sMasterConfig) != HAL_OK)
  {
    Error_Handler();
  }

}

static void MX_TIM5_Init(void)
{

  TIM_ClockConfigTypeDef sClockSourceConfig = {0};
  TIM_MasterConfigTypeDef sMasterConfig = {0};
  TIM_OC_InitTypeDef sConfigOC = {0};

  htim5.Instance = TIM5;
  htim5.Init.Prescaler = 0;
  htim5.Init.CounterMode = TIM_COUNTERMODE_UP;
  htim5.Init.Period = 4294967295;
  htim5.Init.ClockDivision = TIM_CLOCKDIVISION_DIV1;
  htim5.Init.AutoReloadPreload = TIM_AUTORELOAD_PRELOAD_DISABLE;
  if (HAL_TIM_Base_Init(&htim5) != HAL_OK)
  {
    Error_Handler();
  }
  sClockSourceConfig.ClockSource = TIM_CLOCKSOURCE_INTERNAL;
  if (HAL_TIM_ConfigClockSource(&htim5, &sClockSourceConfig) != HAL_OK)
  {
    Error_Handler();
  }
  if (HAL_TIM_PWM_Init(&htim5) != HAL_OK)
  {
    Error_Handler();
  }
  sMasterConfig.MasterOutputTrigger = TIM_TRGO_RESET;
  sMasterConfig.MasterSlaveMode = TIM_MASTERSLAVEMODE_DISABLE;
  if (HAL_TIMEx_MasterConfigSynchronization(&htim5, &sMasterConfig) != HAL_OK)
  {
    Error_Handler();
  }
  sConfigOC.OCMode = TIM_OCMODE_PWM1;
  sConfigOC.Pulse = 0;
  sConfigOC.OCPolarity = TIM_OCPOLARITY_HIGH;
  sConfigOC.OCFastMode = TIM_OCFAST_DISABLE;
  if (HAL_TIM_PWM_ConfigChannel(&htim5, &sConfigOC, TIM_CHANNEL_1) != HAL_OK)
  {
    Error_Handler();
  }
  HAL_TIM_MspPostInit(&htim5);

}

static void MX_TIM8_Init(void)
{

  TIM_ClockConfigTypeDef sClockSourceConfig = {0};
  TIM_MasterConfigTypeDef sMasterConfig = {0};
  TIM_OC_InitTypeDef sConfigOC = {0};
  TIM_BreakDeadTimeConfigTypeDef sBreakDeadTimeConfig = {0};

  htim8.Instance = TIM8;
  htim8.Init.Prescaler = TIM8_PSC_VALUE;
  htim8.Init.CounterMode = TIM_COUNTERMODE_UP;
  htim8.Init.Period = TIM8_ARR_VALUE;
  htim8.Init.ClockDivision = TIM_CLOCKDIVISION_DIV1;
  htim8.Init.RepetitionCounter = 0;
  htim8.Init.AutoReloadPreload = TIM_AUTORELOAD_PRELOAD_DISABLE;
  if (HAL_TIM_Base_Init(&htim8) != HAL_OK)
  {
    Error_Handler();
  }
  sClockSourceConfig.ClockSource = TIM_CLOCKSOURCE_INTERNAL;
  if (HAL_TIM_ConfigClockSource(&htim8, &sClockSourceConfig) != HAL_OK)
  {
    Error_Handler();
  }
  if (HAL_TIM_PWM_Init(&htim8) != HAL_OK)
  {
    Error_Handler();
  }
  sMasterConfig.MasterOutputTrigger = TIM_TRGO_RESET;
  sMasterConfig.MasterOutputTrigger2 = TIM_TRGO2_RESET;
  sMasterConfig.MasterSlaveMode = TIM_MASTERSLAVEMODE_DISABLE;
  if (HAL_TIMEx_MasterConfigSynchronization(&htim8, &sMasterConfig) != HAL_OK)
  {
    Error_Handler();
  }
  sConfigOC.OCMode = TIM_OCMODE_PWM1;
  sConfigOC.Pulse = 0;
  sConfigOC.OCPolarity = TIM_OCPOLARITY_HIGH;
  sConfigOC.OCNPolarity = TIM_OCNPOLARITY_HIGH;
  sConfigOC.OCFastMode = TIM_OCFAST_DISABLE;
  sConfigOC.OCIdleState = TIM_OCIDLESTATE_RESET;
  sConfigOC.OCNIdleState = TIM_OCNIDLESTATE_RESET;
  if (HAL_TIM_PWM_ConfigChannel(&htim8, &sConfigOC, TIM_CHANNEL_1) != HAL_OK)
  {
    Error_Handler();
  }
  if (HAL_TIM_PWM_ConfigChannel(&htim8, &sConfigOC, TIM_CHANNEL_2) != HAL_OK)
  {
    Error_Handler();
  }
  if (HAL_TIM_PWM_ConfigChannel(&htim8, &sConfigOC, TIM_CHANNEL_3) != HAL_OK)
  {
    Error_Handler();
  }
  if (HAL_TIM_PWM_ConfigChannel(&htim8, &sConfigOC, TIM_CHANNEL_4) != HAL_OK)
  {
    Error_Handler();
  }
  sBreakDeadTimeConfig.OffStateRunMode = TIM_OSSR_DISABLE;
  sBreakDeadTimeConfig.OffStateIDLEMode = TIM_OSSI_DISABLE;
  sBreakDeadTimeConfig.LockLevel = TIM_LOCKLEVEL_OFF;
  sBreakDeadTimeConfig.DeadTime = 0;
  sBreakDeadTimeConfig.BreakState = TIM_BREAK_DISABLE;
  sBreakDeadTimeConfig.BreakPolarity = TIM_BREAKPOLARITY_HIGH;
  sBreakDeadTimeConfig.BreakFilter = 0;
  sBreakDeadTimeConfig.Break2State = TIM_BREAK2_DISABLE;
  sBreakDeadTimeConfig.Break2Polarity = TIM_BREAK2POLARITY_HIGH;
  sBreakDeadTimeConfig.Break2Filter = 0;
  sBreakDeadTimeConfig.AutomaticOutput = TIM_AUTOMATICOUTPUT_DISABLE;
  if (HAL_TIMEx_ConfigBreakDeadTime(&htim8, &sBreakDeadTimeConfig) != HAL_OK)
  {
    Error_Handler();
  }
  HAL_TIM_MspPostInit(&htim8);

}

static void MX_TIM9_Init(void)
{

  TIM_OC_InitTypeDef sConfigOC = {0};

  htim9.Instance = TIM9;
  htim9.Init.Prescaler = 0;
  htim9.Init.CounterMode = TIM_COUNTERMODE_UP;
  htim9.Init.Period = 65535;
  htim9.Init.ClockDivision = TIM_CLOCKDIVISION_DIV1;
  htim9.Init.AutoReloadPreload = TIM_AUTORELOAD_PRELOAD_DISABLE;
  if (HAL_TIM_PWM_Init(&htim9) != HAL_OK)
  {
    Error_Handler();
  }
  sConfigOC.OCMode = TIM_OCMODE_PWM1;
  sConfigOC.Pulse = 0;
  sConfigOC.OCPolarity = TIM_OCPOLARITY_HIGH;
  sConfigOC.OCFastMode = TIM_OCFAST_DISABLE;
  if (HAL_TIM_PWM_ConfigChannel(&htim9, &sConfigOC, TIM_CHANNEL_1) != HAL_OK)
  {
    Error_Handler();
  }
  if (HAL_TIM_PWM_ConfigChannel(&htim9, &sConfigOC, TIM_CHANNEL_2) != HAL_OK)
  {
    Error_Handler();
  }
  HAL_TIM_MspPostInit(&htim9);

}

static void MX_UART4_Init(void)
{

  huart4.Instance = UART4;
  huart4.Init.BaudRate = 9600;
  huart4.Init.WordLength = UART_WORDLENGTH_8B;
  huart4.Init.StopBits = UART_STOPBITS_1;
  huart4.Init.Parity = UART_PARITY_NONE;
  huart4.Init.Mode = UART_MODE_TX_RX;
  huart4.Init.HwFlowCtl = UART_HWCONTROL_NONE;
  huart4.Init.OverSampling = UART_OVERSAMPLING_16;
  huart4.Init.OneBitSampling = UART_ONE_BIT_SAMPLE_DISABLE;
  huart4.AdvancedInit.AdvFeatureInit = UART_ADVFEATURE_NO_INIT;
  if (HAL_UART_Init(&huart4) != HAL_OK)
  {
    Error_Handler();
  }

}

static void MX_UART5_Init(void)
{

  huart5.Instance = UART5;
  huart5.Init.BaudRate = 115200;
  huart5.Init.WordLength = UART_WORDLENGTH_8B;
  huart5.Init.StopBits = UART_STOPBITS_1;
  huart5.Init.Parity = UART_PARITY_NONE;
  huart5.Init.Mode = UART_MODE_TX_RX;
  huart5.Init.HwFlowCtl = UART_HWCONTROL_NONE;
  huart5.Init.OverSampling = UART_OVERSAMPLING_16;
  huart5.Init.OneBitSampling = UART_ONE_BIT_SAMPLE_DISABLE;
  huart5.AdvancedInit.AdvFeatureInit = UART_ADVFEATURE_NO_INIT;
  if (HAL_UART_Init(&huart5) != HAL_OK)
  {
    Error_Handler();
  }

}

static void MX_USART1_UART_Init(void)
{

  huart1.Instance = USART1;
  huart1.Init.BaudRate = 115200;
  huart1.Init.WordLength = UART_WORDLENGTH_8B;
  huart1.Init.StopBits = UART_STOPBITS_1;
  huart1.Init.Parity = UART_PARITY_NONE;
  huart1.Init.Mode = UART_MODE_TX_RX;
  huart1.Init.HwFlowCtl = UART_HWCONTROL_NONE;
  huart1.Init.OverSampling = UART_OVERSAMPLING_16;
  huart1.Init.OneBitSampling = UART_ONE_BIT_SAMPLE_DISABLE;
  huart1.AdvancedInit.AdvFeatureInit = UART_ADVFEATURE_NO_INIT;
  if (HAL_UART_Init(&huart1) != HAL_OK)
  {
    Error_Handler();
  }

}

static void MX_USART2_UART_Init(void)
{

  huart2.Instance = USART2;
  huart2.Init.BaudRate = 115200;
  huart2.Init.WordLength = UART_WORDLENGTH_8B;
  huart2.Init.StopBits = UART_STOPBITS_1;
  huart2.Init.Parity = UART_PARITY_NONE;
  huart2.Init.Mode = UART_MODE_TX_RX;
  huart2.Init.HwFlowCtl = UART_HWCONTROL_NONE;
  huart2.Init.OverSampling = UART_OVERSAMPLING_16;
  huart2.Init.OneBitSampling = UART_ONE_BIT_SAMPLE_DISABLE;
  huart2.AdvancedInit.AdvFeatureInit = UART_ADVFEATURE_NO_INIT;
  if (HAL_UART_Init(&huart2) != HAL_OK)
  {
    Error_Handler();
  }

}

static void MX_USART3_UART_Init(void)
{

  huart3.Instance = USART3;
  huart3.Init.BaudRate = 115200;
  huart3.Init.WordLength = UART_WORDLENGTH_8B;
  huart3.Init.StopBits = UART_STOPBITS_1;
  huart3.Init.Parity = UART_PARITY_NONE;
  huart3.Init.Mode = UART_MODE_TX_RX;
  huart3.Init.HwFlowCtl = UART_HWCONTROL_NONE;
  huart3.Init.OverSampling = UART_OVERSAMPLING_16;
  huart3.Init.OneBitSampling = UART_ONE_BIT_SAMPLE_DISABLE;
  huart3.AdvancedInit.AdvFeatureInit = UART_ADVFEATURE_NO_INIT;
  if (HAL_UART_Init(&huart3) != HAL_OK)
  {
    Error_Handler();
  }

}

static void MX_GPIO_Init(void)
{
  GPIO_InitTypeDef GPIO_InitStruct = {0};

  /* GPIO Ports Clock Enable */
  __HAL_RCC_GPIOE_CLK_ENABLE();
  __HAL_RCC_GPIOC_CLK_ENABLE();
  __HAL_RCC_GPIOF_CLK_ENABLE();
  __HAL_RCC_GPIOH_CLK_ENABLE();
  __HAL_RCC_GPIOA_CLK_ENABLE();
  __HAL_RCC_GPIOB_CLK_ENABLE();
  __HAL_RCC_GPIOD_CLK_ENABLE();
  __HAL_RCC_GPIOG_CLK_ENABLE();

  /*Configure GPIO pin Output Level */
  HAL_GPIO_WritePin(GPIOE, GPIO_OUT_SPI_CS_SDCARD_Pin|GPIO_OUT_SPI_CS_LCD_Pin, GPIO_PIN_RESET);

  /*Configure GPIO pin Output Level */
  HAL_GPIO_WritePin(GPIOB, LD1_Pin|LD3_Pin|LD2_Pin, GPIO_PIN_RESET);

  /*Configure GPIO pin Output Level */
  HAL_GPIO_WritePin(GPIOG, GPIO_PIN_6, GPIO_PIN_RESET);

  /*Configure GPIO pins : GPIO_OUT_SPI_CS_SDCARD_Pin GPIO_OUT_SPI_CS_LCD_Pin */
  GPIO_InitStruct.Pin = GPIO_OUT_SPI_CS_SDCARD_Pin|GPIO_OUT_SPI_CS_LCD_Pin;
  GPIO_InitStruct.Mode = GPIO_MODE_OUTPUT_PP;
  GPIO_InitStruct.Pull = GPIO_NOPULL;
  GPIO_InitStruct.Speed = GPIO_SPEED_FREQ_LOW;
  HAL_GPIO_Init(GPIOE, &GPIO_InitStruct);

  /*Configure GPIO pins : GPIO_EXTI3_IMU_IRQ_Pin GPIO_EXTI8_USER_BUT1_IRQ_Pin GPIO_EXTI9_USER_BUT2_IRQ_Pin GPIO_EXTI10_BUMP1_IRQ_Pin
                           GPIO_EXTI11_BUMP2_IRQ_Pin GPIO_EXTI12_BUMP3_IRQ_Pin GPIO_EXTI13_BUMP4_IRQ_Pin */
  GPIO_InitStruct.Pin = GPIO_EXTI3_IMU_IRQ_Pin|GPIO_EXTI8_USER_BUT1_IRQ_Pin|GPIO_EXTI9_USER_BUT2_IRQ_Pin|GPIO_EXTI10_BUMP1_IRQ_Pin
                          |GPIO_EXTI11_BUMP2_IRQ_Pin|GPIO_EXTI12_BUMP3_IRQ_Pin|GPIO_EXTI13_BUMP4_IRQ_Pin;
  GPIO_InitStruct.Mode = GPIO_MODE_IT_RISING;
  GPIO_InitStruct.Pull = GPIO_NOPULL;
  HAL_GPIO_Init(GPIOF, &GPIO_InitStruct);

  /*Configure GPIO pin : PF4 */
  GPIO_InitStruct.Pin = GPIO_PIN_4;
  GPIO_InitStruct.Mode = GPIO_MODE_IT_FALLING;
  GPIO_InitStruct.Pull = GPIO_NOPULL;
  HAL_GPIO_Init(GPIOF, &GPIO_InitStruct);

  /*Configure GPIO pins : RMII_MDC_Pin RMII_RXD0_Pin RMII_RXD1_Pin */
  GPIO_InitStruct.Pin = RMII_MDC_Pin|RMII_RXD0_Pin|RMII_RXD1_Pin;
  GPIO_InitStruct.Mode = GPIO_MODE_AF_PP;
  GPIO_InitStruct.Pull = GPIO_NOPULL;
  GPIO_InitStruct.Speed = GPIO_SPEED_FREQ_VERY_HIGH;
  GPIO_InitStruct.Alternate = GPIO_AF11_ETH;
  HAL_GPIO_Init(GPIOC, &GPIO_InitStruct);

  /*Configure GPIO pins : RMII_REF_CLK_Pin RMII_MDIO_Pin RMII_CRS_DV_Pin */
  GPIO_InitStruct.Pin = RMII_REF_CLK_Pin|RMII_MDIO_Pin|RMII_CRS_DV_Pin;
  GPIO_InitStruct.Mode = GPIO_MODE_AF_PP;
  GPIO_InitStruct.Pull = GPIO_NOPULL;
  GPIO_InitStruct.Speed = GPIO_SPEED_FREQ_VERY_HIGH;
  GPIO_InitStruct.Alternate = GPIO_AF11_ETH;
  HAL_GPIO_Init(GPIOA, &GPIO_InitStruct);

  /*Configure GPIO pins : LD1_Pin LD3_Pin LD2_Pin */
  GPIO_InitStruct.Pin = LD1_Pin|LD3_Pin|LD2_Pin;
  GPIO_InitStruct.Mode = GPIO_MODE_OUTPUT_PP;
  GPIO_InitStruct.Pull = GPIO_NOPULL;
  GPIO_InitStruct.Speed = GPIO_SPEED_FREQ_LOW;
  HAL_GPIO_Init(GPIOB, &GPIO_InitStruct);

  /*Configure GPIO pin : RMII_TXD1_Pin */
  GPIO_InitStruct.Pin = RMII_TXD1_Pin;
  GPIO_InitStruct.Mode = GPIO_MODE_AF_PP;
  GPIO_InitStruct.Pull = GPIO_NOPULL;
  GPIO_InitStruct.Speed = GPIO_SPEED_FREQ_VERY_HIGH;
  GPIO_InitStruct.Alternate = GPIO_AF11_ETH;
  HAL_GPIO_Init(RMII_TXD1_GPIO_Port, &GPIO_InitStruct);

  /*Configure GPIO pin : PG6 */
  GPIO_InitStruct.Pin = GPIO_PIN_6;
  GPIO_InitStruct.Mode = GPIO_MODE_OUTPUT_PP;
  GPIO_InitStruct.Pull = GPIO_NOPULL;
  GPIO_InitStruct.Speed = GPIO_SPEED_FREQ_LOW;
  HAL_GPIO_Init(GPIOG, &GPIO_InitStruct);

  /*Configure GPIO pin : USB_OverCurrent_Pin */
  GPIO_InitStruct.Pin = USB_OverCurrent_Pin;
  GPIO_InitStruct.Mode = GPIO_MODE_INPUT;
  GPIO_InitStruct.Pull = GPIO_NOPULL;
  HAL_GPIO_Init(USB_OverCurrent_GPIO_Port, &GPIO_InitStruct);

  /*Configure GPIO pins : USB_SOF_Pin USB_ID_Pin USB_DM_Pin USB_DP_Pin */
  GPIO_InitStruct.Pin = USB_SOF_Pin|USB_ID_Pin|USB_DM_Pin|USB_DP_Pin;
  GPIO_InitStruct.Mode = GPIO_MODE_AF_PP;
  GPIO_InitStruct.Pull = GPIO_NOPULL;
  GPIO_InitStruct.Speed = GPIO_SPEED_FREQ_VERY_HIGH;
  GPIO_InitStruct.Alternate = GPIO_AF10_OTG_FS;
  HAL_GPIO_Init(GPIOA, &GPIO_InitStruct);

  /*Configure GPIO pin : USB_VBUS_Pin */
  GPIO_InitStruct.Pin = USB_VBUS_Pin;
  GPIO_InitStruct.Mode = GPIO_MODE_INPUT;
  GPIO_InitStruct.Pull = GPIO_NOPULL;
  HAL_GPIO_Init(USB_VBUS_GPIO_Port, &GPIO_InitStruct);

  /*Configure GPIO pins : RMII_TX_EN_Pin RMII_TXD0_Pin */
  GPIO_InitStruct.Pin = RMII_TX_EN_Pin|RMII_TXD0_Pin;
  GPIO_InitStruct.Mode = GPIO_MODE_AF_PP;
  GPIO_InitStruct.Pull = GPIO_NOPULL;
  GPIO_InitStruct.Speed = GPIO_SPEED_FREQ_VERY_HIGH;
  GPIO_InitStruct.Alternate = GPIO_AF11_ETH;
  HAL_GPIO_Init(GPIOG, &GPIO_InitStruct);

}

void Error_Handler(void)
{
  __disable_irq();
  while (1)
  {
  }
}
